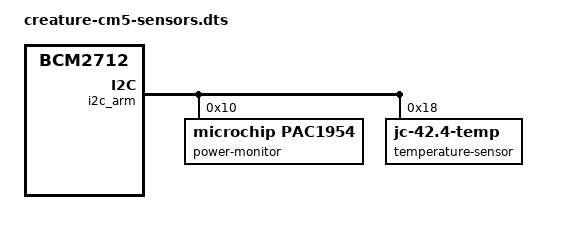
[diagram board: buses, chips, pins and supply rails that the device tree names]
// Sensors on the Creature CM5 Carrier board, both on I2C1 (GPIO2/3).
//
//   0x10  PAC1954 power monitor (pac1954 hwmon driver, this repo)
//   0x18  MCP9808 temperature sensor (in-tree jc42 driver)
//
// Shunts are 4 mOhm RLP25 on every channel (schematic-design.md).
//
// Carrier rev B calibration: on rev B the PAC1954 sense traces don't all leave
// from the shunt pads, so each channel also sees some board copper in series
// with its 4 mOhm shunt. A current-flow solve on the rev B Gerbers (2026-11-18,
// creature-cm5-board) gives the extra resistance, added to each value below:
//   ch1 +0.186 mOhm (+4.7 %)   SENSE1- taps PWR_C7 next to the via field
//   ch2 +0.106 mOhm (+2.7 %)   SENSE2- taps a current-carrying via
//   ch3 +0.941 mOhm (+23.5 %)  SENSE3+ taps the PD_U2 output pins
//   ch4 +0.780 mOhm (+19.5 %)  SENSE4+ taps PWR_C5, SENSE4- taps PWR_Q1's source
// Rev C routes every sense pair Kelvin from its own shunt and goes back to 4000.
/dts-v1/;
/plugin/;

/ {
	compatible = "brcm,bcm2712";

	fragment@0 {
		target = <&i2c_arm>;
		__overlay__ {
			#address-cells = <1>;
			#size-cells = <0>;
			status = "okay";

			power-monitor@10 {
				compatible = "microchip,pac1954";
				reg = <0x10>;
				#address-cells = <1>;
				#size-cells = <0>;

				channel@1 {
					reg = <1>;
					shunt-resistor-micro-ohms = <4186>;	/* rev B: 4000 + 186 */
					label = "Board In";	/* SYS_24V, total input */
				};
				channel@2 {
					reg = <2>;
					shunt-resistor-micro-ohms = <4106>;	/* rev B: 4000 + 106 */
					label = "CM5 5V";
				};
				channel@3 {
					reg = <3>;
					shunt-resistor-micro-ohms = <4941>;	/* rev B: 4000 + 941 */
					label = "Character";	/* USB-C character power */
				};
				channel@4 {
					reg = <4>;
					shunt-resistor-micro-ohms = <4780>;	/* rev B: 4000 + 780 */
					label = "PoE";		/* AG5810 output only */
				};
			};

			temperature-sensor@18 {
				compatible = "jedec,jc-42.4-temp";
				reg = <0x18>;
			};
		};
	};
};
